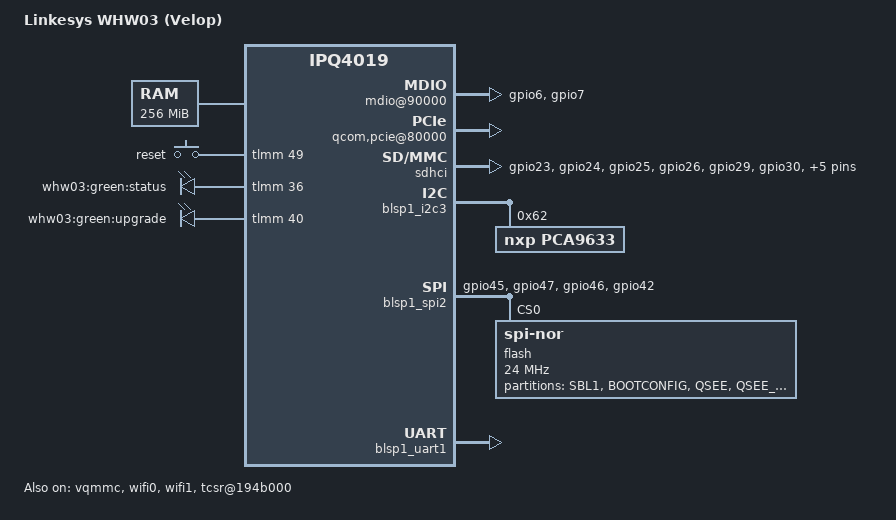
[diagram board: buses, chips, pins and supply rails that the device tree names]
// SPDX-License-Identifier: GPL-2.0-or-later OR MIT
/* Copyright (c) 2019, Robert Marko <robimarko@gmail.com> */

#include "qcom-ipq4019-ap.dk04.1.dtsi"
#include <dt-bindings/gpio/gpio.h>
#include <dt-bindings/input/input.h>
#include <dt-bindings/soc/qcom,tcsr.h>

/ {
	model = "Linkesys WHW03 (Velop)";
	compatible = "linksys,whw03";

	aliases {
		led-boot = &led_status;
		led-failsafe = &led_status;
		led-running = &led_status;
		led-upgrade = &led_upgrade;
	};

	chosen {
                bootargs-append = " rootfstype=ext4 root=/dev/mmcblk0p17 rootwait console=ttyMSM0,115200n8";
        };

	memory {
		device_type = "memory";
		reg = <0x80000000 0x10000000>;
	};

	soc {
		mdio@90000 {
			status = "okay";

			pinctrl-0 = <&mdio_pins>;
			pinctrl-names = "default";
		};


		counter@4a1000 {
			compatible = "qcom,qca-gcnt";
			reg = <0x4a1000 0x4>;
		};

		tcsr@1949000 {
			compatible = "qcom,tcsr";
			reg = <0x1949000 0x100>;
			qcom,wifi_glb_cfg = <TCSR_WIFI_GLB_CFG>;
		};

		tcsr@194b000 {
			status = "okay";

			compatible = "qcom,tcsr";
			reg = <0x194b000 0x100>;
			qcom,usb-hsphy-mode-select = <TCSR_USB_HSPHY_HOST_MODE>;
		};

		ess_tcsr@1953000 {
			compatible = "qcom,tcsr";
			reg = <0x1953000 0x1000>;
			qcom,ess-interface-select = <TCSR_ESS_PSGMII>;
		};

		tcsr@1957000 {
			compatible = "qcom,tcsr";
			reg = <0x1957000 0x100>;
			qcom,wifi_noc_memtype_m0_m2 = <TCSR_WIFI_NOC_MEMTYPE_M0_M2>;
		};


		ess-switch@c000000 {
			status = "okay";
		};

		edma@c080000 {
			status = "okay";
		};

		qcom,pcie@80000 {
			compatible = "qcom,msm_pcie";
			cell-index = <0x0>;
			qcom,ctrl-amt = <0x1>;
			reg = <0x80000 0x2000 0x99000 0x800 0x40000000 0xf1d 0x40000f20 0xa8 0x40100000 0x1000 0x40200000 0x100000 0x40300000 0xd00000>;
			reg-names = "parf", "phy", "dm_core", "elbi", "conf", "io", "bars";
			#address-cells = <0x0>;
			interrupt-parent = <0x52>;
			interrupts = <0x0 0x1 0x2 0x3 0x4 0x5 0x6 0x7 0x8 0x9 0xa 0xb 0xc>;
			#interrupt-cells = <0x1>;
			interrupt-map-mask = <0xffffffff>;
			interrupt-map = <0x0 0x1 0x0 0x8d 0x0 0x1 0x1 0x0 0x8e 0x0 0x2 0x1 0x0 0x8f 0x0 0x3 0x1 0x0 0x90 0x0 0x4 0x1 0x0 0x91 0x0 0x5 0x1 0x0 0x92 0x0 0x6 0x1 0x0 0x93 0x0 0x7 0x1 0x0 0x94 0x0 0x8 0x1 0x0 0x95 0x0 0x9 0x1 0x0 0x96 0x0 0xa 0x1 0x0 0x97 0x0 0xb 0x1 0x0 0x98 0x0>;
			interrupt-names = "int_msi", "int_a", "int_b", "int_c", "int_d", "int_pls_pme", "int_pme_legacy", "int_pls_err", "int_aer_legacy", "int_pls_link_up", "int_pls_link_down", "int_bridge_flush_n", "int_wake";
			qcom,ep-latency = <0xa>;
			clocks = <0x2 0x26 0x2 0x27 0x2 0x28>;
			clock-names = "pcie_0_cfg_ahb_clk", "pcie_0_mstr_axi_clk", "pcie_0_slv_axi_clk";
			max-clock-frequency-hz = <0x0 0x0 0x0>;
			resets = <0x2 0x1c 0x2 0x1b 0x2 0x1a 0x2 0x19 0x2 0x18 0x2 0x17 0x2 0x16 0x2 0x15 0x2 0x14 0x2 0x13 0x2 0x12 0x2 0x11>;
			reset-names = "pcie_rst_axi_m_ares", "pcie_rst_axi_s_ares", "pcie_rst_pipe_ares", "pcie_rst_axi_m_vmidmt_ares", "pcie_rst_axi_s_xpu_ares", "pcie_rst_parf_xpu_ares", "pcie_rst_phy_ares", "pcie_rst_axi_m_sticky_ares", "pcie_rst_pipe_sticky_ares", "pcie_rst_pwr_ares", "pcie_rst_ahb_res", "pcie_rst_phy_ahb_ares";
			status = "ok";
			perst-gpio = <0x50 0x26 0x0>;
			wake-gpio = <0x50 0x28 0x0>;
			clkreq-gpio = <0x50 0x27 0x0>;
			linux,phandle = <0x52>;
			phandle = <0x52>;
		};		
	};

	keys {
		compatible = "gpio-keys";

		reset {
			label = "reset";
			gpios = <&tlmm 49 GPIO_ACTIVE_HIGH>;
			linux,code = <KEY_RESTART>;
		};
	};

	leds {
		compatible = "gpio-leds";

		led_status: status {
			label = "whw03:green:status";
			gpios = <&tlmm 36 GPIO_ACTIVE_HIGH>;
			panic-indicator;
		};

		led_upgrade: upgrade {
			label = "whw03:green:upgrade";
			gpios = <&tlmm 40 GPIO_ACTIVE_HIGH>;
		};
	};
};

&vqmmc {
	status = "okay";
};

&sdhci {
	status = "okay";

	pinctrl-0 = <&sd_pins>;
	pinctrl-names = "default";
	cd-gpios = <&tlmm 53 GPIO_ACTIVE_HIGH>;
	sd-ldo-gpios = <&tlmm 21 GPIO_ACTIVE_HIGH>;
	vqmmc-supply = <&vqmmc>;
};

&tlmm {
	mdio_pins: mdio_pinmux {
		mux_1 {
			pins = "gpio6";
			function = "mdio0";
			bias-bus-hold;
		};

		mux_2 {
			pins = "gpio7";
			function = "mdc";
			bias-bus-hold;
		};
	};

	ts_pins: ts_pinmux {
		mux_1 {
			pins = "gpio34";
			output-high;
		};
		
		mux_2 {
			pins = "gpio35";
			input-enable;
			bias-pull-up;
		};
	};

	i2c_0_pins: i2c_0_pinmux {
		pinmux {
			function = "blsp_i2c0";
			pins = "gpio58", "gpio59";
			bias-disable;
		};
	};

	spi_1_pins: spi_1_pinmux {
		pinmux {
			function = "blsp_spi1";
			pins = "gpio45", "gpio47", "gpio46";
			drive-strength = <12>;
			bias-disable;
		};

		pinmux_cs {
			function = "gpio";
			pins = "gpio45";
			drive-strength = <2>;
			bias-pull-up;
		};
		pinmux_reset {
			function = "gpio";
			pins = "gpio45";
			output-high;
		};
		pinmux_host_int {
			function = "gpio";
			pins = "gpio42";
			input;
		};
	};

	led_pins: led0_pinmux {
		pinmux {
			function = "led2";
			pins = "gpio36";
			bias-pull-down;
		};
	};

	sd_pins: sd_pins {
		pinmux {
			function = "sdio";
			pins = "gpio23", "gpio24", "gpio25", "gpio26",
				"gpio29", "gpio30", "gpio31";
			drive-strength = <0xa>;
		};

		pinmux_sd_cmd {
			function = "sdio_cmd";
			pins = "gpio28";
			drive-strength = <0xa>;
		};

		pinmux_sd_clk {
			function = "sdio";
			pins = "gpio27";
			drive-strength = <0x10>;
		};

		pinmux_sd7 {
			function = "sdio";
			pins = "gpio32";
			drive-strength = <0xa>;
			bias-disable;
		};
	};

	wifi1_pins: wifi1_pinmux {
		mux_1 {
		pins = "gpio37";
		output-high;
		function = "wcss0_dbg16";
		bias-pull-up;
		drive-strength = <0x6>;
		};

		mux_2 {
		pins = "gpio43";
		function = "wifi_wci1";
		bias-pull-up;
		drive-strength = <0x6>;
		};

		mux_3 {
		pins = "gpio52";
		output-high;
		function = "gpio";
		bias-pull-up;
		drive-strength = <0x6>;
		};
	};
};

&blsp1_i2c3 {
	reg-names = "qup_phys_addr", "bam_phys_addr";
	reg = <0x78b7000 0x600 0x7884000 0x23000>;
	status = "ok";
	pinctrl-0 = <0x4f>;
	pinctrl-1 = <0x4f>;
	pinctrl-names = "i2c_active", "i2c_sleep";
	qca_codec@12 {
		compatible = "qca,ipq40xx-codec";
		reg = <0x12>;
		status = "disabled";
	};
	lcd_ts@40 {
		compatible = "qca,gsl1680_ts";
		reg = <0x40>;
		status = "disabled";
	};
	pca9633 {
		compatible = "nxp,pca9633";
		#address-cells = <0x1>;
		#size-cells = <0x0>;
		reg = <0x62>;
		nxp,hw-blink;
		red@0 {
			label = "red";
			reg = <0x0>;
			linux,default-trigger = "none";
		};
		green@1 {
			label = "green";
			reg = <0x1>;
			linux,default-trigger = "none";
		};
		blue@2 {
			label = "blue";
			reg = <0x2>;
			linux,default-trigger = "none";
		};
		unused@3 {
			label = "unused";
			reg = <0x3>;
			linux,default-trigger = "none";
		};
	};	
};

&blsp1_spi2 {
	status = "okay";

	pinctrl-0 = <&spi_1_pins>;
	pinctrl-names = "default";

	flash@0 {
		compatible = "jedec,spi-nor";
		spi-max-frequency = <24000000>;
		reg = <0>;

		partitions {
			compatible = "fixed-partitions";
			#address-cells = <1>;
			#size-cells = <1>;

			partition@22 {
				label = "SBL1";
				reg = <0x00000022 0x00000421>;
				read-only;
			};
			partition@422 {
				label = "BOOTCONFIG";
				reg = <0x00000422 0x00000821>;
				read-only;
			};
			partition@822 {
				label = "QSEE";
				reg = <0x00000822 0x00000C21>;
				read-only;
			};
			partition@c22 {
				label = "QSEE_1";
				reg = <0x00000C22 0x00001021>;
				read-only;
			};
			partition@1022 {
				label = "CDT";
				reg = <0x00001022 0x00001221>;
				read-only;
			};
			partition@1222 {
				label = "CDT_1";
				reg = <0x00001222 0x00001421>;
				read-only;
			};
			partition@1422 {
				label = "BOOTCONFIG1";
				reg = <0x00001422 0x00001621>;
				read-only;
			};
			partition@1622 {
				label = "APPSBL"; /* uboot env */
				reg = <0x00001622 0x00001E21>;
				read-only;
			};
			partition@1E22 {
				label = "APPSBL_1"; /* uboot env */
				reg = <0x00001E22 0x00002621>;
				read-only;
			};
			partition@2622 {
				label = "ART";
				reg = <0x00002622 0x00002681>;
				read-only;
			};
			partition@2822 {
				label = "u_env";
				reg = <0x00002822 0x00003021>;
				read-only;
			};
			partition@3022 {
				label = "s_env";
				reg = <0x00003022 0x00003821>;
				read-only;
			};
			partition@3822 {
				label = "devinfo";
				reg = <0x00003822 0x00004021>;
				read-only;
			};
			partition@4022 {
				label = "firmware";
				compatible = "denx,fit";
				reg = <0x00004022 0x00048021>;
			};
		};
	};
};

&nand {
	status = "disabled";
};

&blsp1_uart1 {
	status = "okay";

	pinctrl-0 = <&serial1_pins>;
	pinctrl-names = "default";
};


&wifi0 {
	status = "ok";
	qca,msi_addr = <0xb006040>;
	qca,msi_base = <0x40>;
	wifi-led-gpios = <0x50 0x14 0x1>;
	wifi-rssi-gpios = <0x50 0x15 0x1>;
	qcom,mtd-name = "0:ART";
	qcom,cal-offset = <0x1000>;
	qcom,cal-len = <0x2f20>;
	pinctrl-0 = <0x51>;
	pinctrl-names = "default";
	btcoex_support = <0x1>;
	wlan_prio_gpio = <0x34>;
};

&wifi1 {
	status = "ok";
	qca,msi_addr = <0xb006040>;
	qca,msi_base = <0x50>;
	wifi-led-gpios = <0x50 0x3f 0x1>;
	wifi-rssi-gpios = <0x50 0x40 0x1>;
	qcom,mtd-name = "0:ART";
	qcom,cal-offset = <0x5000>;
	qcom,cal-len = <0x2f20>;
	btcoex_support = <0x0>;
};
